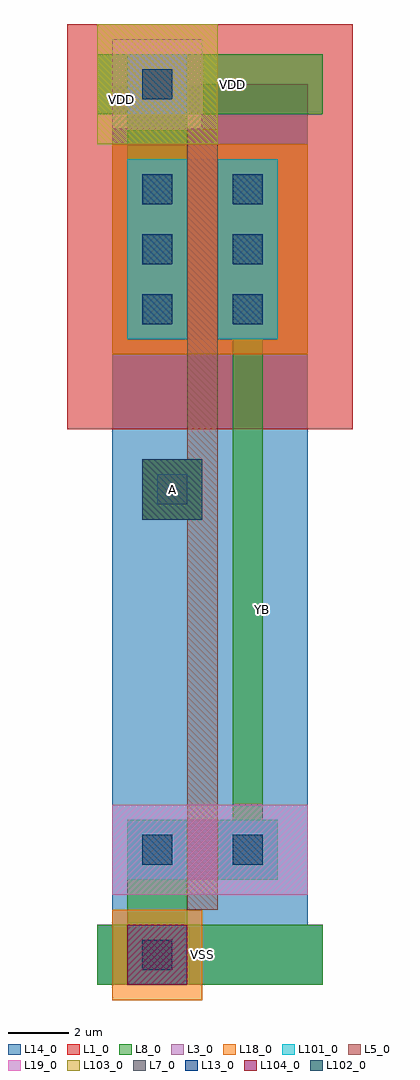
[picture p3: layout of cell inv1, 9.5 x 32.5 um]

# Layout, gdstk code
import gdstk
lib = gdstk.Library(unit=1e-6, precision=1e-09)
def R(c, l, rs):  # rectangles x0, y0, x1, y1
    for r in rs: c.add(gdstk.rectangle(r[:2], r[2:], *l))
L1_0 = (1, 0)
L3_0 = (3, 0)
L5_0 = (5, 0)
L7_0 = (7, 0)
L8_0 = (8, 0)
L13_0 = (13, 0)
L14_0 = (14, 0)
L18_0 = (18, 0)
L19_0 = (19, 0)
L101_0 = (101, 0)
L102_0 = (102, 0)
L103_0 = (103, 0)
L104_0 = (104, 0)

dcont = lib.new_cell('dcont')
R(dcont, L3_0, [(-1,-1,1,1)])
R(dcont, L7_0, [(-0.5,-0.5,0.5,0.5)])
R(dcont, L8_0, [(-1,-1,1,1)])
R(dcont, L13_0, [(-0.5,-0.5,0.5,0.5)])
R(dcont, L101_0, [(-1,-1,1,1)])
dcont.add(gdstk.Label('dcont', (0,0), layer=13, texttype=0))

psubcont = lib.new_cell('psubcont')
R(psubcont, L18_0, [(-1.5,-1.5,1.5,1.5)])
R(psubcont, L104_0, [(-1,-1,1,1)])
psubcont.add(gdstk.Reference(dcont, (0,0)))
psubcont.add(gdstk.Label('PScon', (0,0), layer=13, texttype=0))

nsubcont = lib.new_cell('nsubcont')
R(nsubcont, L1_0, [(-2,-2,2,2)])
R(nsubcont, L19_0, [(-1.5,-1.5,1.5,1.5)])
R(nsubcont, L103_0, [(-2,-2,2,2)])
nsubcont.add(gdstk.Reference(dcont, (0,0)))
nsubcont.add(gdstk.Label('NScont', (0,0), layer=13, texttype=0))

pcont = lib.new_cell('pcont')
R(pcont, L5_0, [(-1,-1,1,1)])
R(pcont, L7_0, [(-0.5,-0.5,0.5,0.5)])
R(pcont, L8_0, [(-1,-1,1,1)])
R(pcont, L102_0, [(-1,-1,1,1)])
pcont.add(gdstk.Label('pcont', (0,0), layer=13, texttype=0))

inv1 = lib.new_cell('inv1')
R(inv1, L1_0, [(-1.5,17.5,8,31)])
R(inv1, L3_0, [(0.5,2.5,5.5,4.5), (0.5,20.5,5.5,26.5)])
R(inv1, L8_0, [(-0.5,-1,7,1), (4,4.5,5,20.5), (1,14.5,3,16.5), (-0.5,28,7,30), (-0.5,28,7,30)])
R(inv1, L14_0, [(-0.5,-1,7,1), (0,0,6.5,29)])
R(inv1, L18_0, [(0,20,6.5,27)])
R(inv1, L19_0, [(0,2,6.5,5)])
inv1.add(gdstk.FlexPath([(3,27),(3,2)], 1, ends="extended", simple_path=True, layer=5, datatype=0))  # L5_0
inv1.add(gdstk.FlexPath([(1.5,21.5),(1.5,28.5)], 2, ends="extended", simple_path=True, layer=8, datatype=0))  # L8_0
inv1.add(gdstk.FlexPath([(1.5,1),(1.5,3.5)], 2, ends="extended", simple_path=True, layer=8, datatype=0))  # L8_0
inv1.add(gdstk.FlexPath([(4.5,22.3),(4.5,25.5)], 1.4, ends="extended", simple_path=True, layer=8, datatype=0))  # L8_0
inv1.add(gdstk.Reference(dcont, (4.5,23.5)))
inv1.add(gdstk.Reference(dcont, (1.5,25.5)))
inv1.add(gdstk.Reference(dcont, (4.5,25.5)))
inv1.add(gdstk.Reference(psubcont, (1.5,0)))
inv1.add(gdstk.Reference(dcont, (1.5,23.5)))
inv1.add(gdstk.Reference(dcont, (1.5,3.5)))
inv1.add(gdstk.Reference(dcont, (4.5,3.5)))
inv1.add(gdstk.Reference(nsubcont, (1.5,29)))
inv1.add(gdstk.Reference(dcont, (1.5,21.5)))
inv1.add(gdstk.Reference(dcont, (4.5,21.5)))
inv1.add(gdstk.Reference(pcont, (2,15.5)))
inv1.add(gdstk.Label('YB', (5,11.5), layer=8, texttype=0))
inv1.add(gdstk.Label('VDD', (4,29), layer=8, texttype=0))
inv1.add(gdstk.Label('VDD', (0.3,28.5), layer=8, texttype=0))
inv1.add(gdstk.Label('VSS', (3,0), layer=8, texttype=0))
inv1.add(gdstk.Label('A', (2,15.5), layer=8, texttype=0))

lib.write_gds('inv1.gds')
